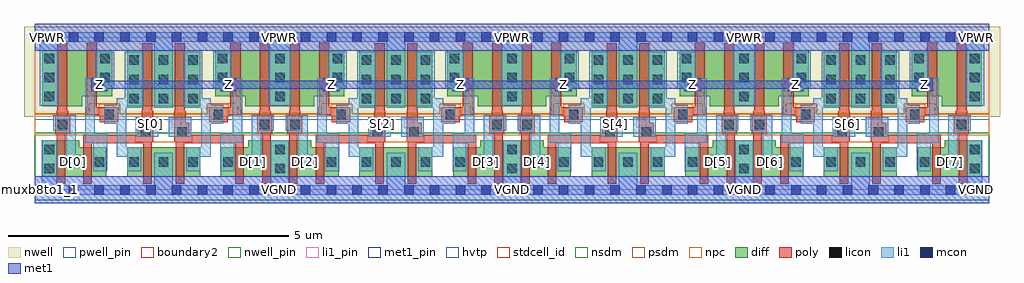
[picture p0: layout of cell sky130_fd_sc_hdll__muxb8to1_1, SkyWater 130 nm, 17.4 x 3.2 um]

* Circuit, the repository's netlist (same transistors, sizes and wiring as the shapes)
* Copyright 2020 The SkyWater PDK Authors
*
* Licensed under the Apache License, Version 2.0 (the "License");
* you may not use this file except in compliance with the License.
* You may obtain a copy of the License at
*
*     https://www.apache.org/licenses/LICENSE-2.0
*
* Unless required by applicable law or agreed to in writing, software
* distributed under the License is distributed on an "AS IS" BASIS,
* WITHOUT WARRANTIES OR CONDITIONS OF ANY KIND, either express or implied.
* See the License for the specific language governing permissions and
* limitations under the License.
*
* SPDX-License-Identifier: Apache-2.0

.SUBCKT sky130_fd_sc_hdll__muxb8to1_1 D[7] D[6] D[5] D[4] D[3] D[2] D[1] D[0] S[7] S[6] S[5] S[4] S[3] S[2] S[1] S[0] VGND VNB VPB VPWR Z
*.PININFO D[7]:I D[6]:I D[5]:I D[4]:I D[3]:I D[2]:I D[1]:I D[0]:I
*.PININFO S[7]:I S[6]:I S[5]:I S[4]:I S[3]:I S[2]:I S[1]:I S[0]:I
*.PININFO VGND:I VNB:I VPB:I VPWR:I Z:O
MMNA00 Z S[0] net87 VNB sky130_fd_pr__nfet_01v8 m=1 w=0.52U l=0.15U mult=1 sa=0.265
+ sb=0.265 sd=0.28 area=0.063 perim=1.14
MMNA01 net87 D[0] VGND VNB sky130_fd_pr__nfet_01v8 m=1 w=0.65U l=0.15U mult=1 sa=0.265
+ sb=0.265 sd=0.28 area=0.063 perim=1.14
MMIN1 SB0 S[0] VGND VNB sky130_fd_pr__nfet_01v8 m=1 w=0.52U l=0.15U mult=1 sa=0.265
+ sb=0.265 sd=0.28 area=0.063 perim=1.14
MI30 Z S[2] net51 VNB sky130_fd_pr__nfet_01v8 m=1 w=0.52U l=0.15U mult=1 sa=0.265
+ sb=0.265 sd=0.28 area=0.063 perim=1.14
MI29 net51 D[2] VGND VNB sky130_fd_pr__nfet_01v8 m=1 w=0.65U l=0.15U mult=1 sa=0.265
+ sb=0.265 sd=0.28 area=0.063 perim=1.14
MI28 SB2 S[2] VGND VNB sky130_fd_pr__nfet_01v8 m=1 w=0.52U l=0.15U mult=1 sa=0.265
+ sb=0.265 sd=0.28 area=0.063 perim=1.14
MI27 SB3 S[3] VGND VNB sky130_fd_pr__nfet_01v8 m=1 w=0.52U l=0.15U mult=1 sa=0.265
+ sb=0.265 sd=0.28 area=0.063 perim=1.14
MI26 net63 D[3] VGND VNB sky130_fd_pr__nfet_01v8 m=1 w=0.65U l=0.15U mult=1 sa=0.265
+ sb=0.265 sd=0.28 area=0.063 perim=1.14
MI25 Z S[3] net63 VNB sky130_fd_pr__nfet_01v8 m=1 w=0.52U l=0.15U mult=1 sa=0.265
+ sb=0.265 sd=0.28 area=0.063 perim=1.14
MI13 Z S[1] net75 VNB sky130_fd_pr__nfet_01v8 m=1 w=0.52U l=0.15U mult=1 sa=0.265
+ sb=0.265 sd=0.28 area=0.063 perim=1.14
MI12 net75 D[1] VGND VNB sky130_fd_pr__nfet_01v8 m=1 w=0.65U l=0.15U mult=1 sa=0.265
+ sb=0.265 sd=0.28 area=0.063 perim=1.14
MI11 SB1 S[1] VGND VNB sky130_fd_pr__nfet_01v8 m=1 w=0.52U l=0.15U mult=1 sa=0.265
+ sb=0.265 sd=0.28 area=0.063 perim=1.14
MI67 Z S[4] net073 VNB sky130_fd_pr__nfet_01v8 m=1 w=0.52U l=0.15U mult=1 sa=0.265
+ sb=0.265 sd=0.28 area=0.063 perim=1.14
MI66 net073 D[4] VGND VNB sky130_fd_pr__nfet_01v8 m=1 w=0.65U l=0.15U mult=1 sa=0.265
+ sb=0.265 sd=0.28 area=0.063 perim=1.14
MI65 SB4 S[4] VGND VNB sky130_fd_pr__nfet_01v8 m=1 w=0.52U l=0.15U mult=1 sa=0.265
+ sb=0.265 sd=0.28 area=0.063 perim=1.14
MI64 Z S[6] net085 VNB sky130_fd_pr__nfet_01v8 m=1 w=0.52U l=0.15U mult=1 sa=0.265
+ sb=0.265 sd=0.28 area=0.063 perim=1.14
MI63 net085 D[6] VGND VNB sky130_fd_pr__nfet_01v8 m=1 w=0.65U l=0.15U mult=1 sa=0.265
+ sb=0.265 sd=0.28 area=0.063 perim=1.14
MI62 SB6 S[6] VGND VNB sky130_fd_pr__nfet_01v8 m=1 w=0.52U l=0.15U mult=1 sa=0.265
+ sb=0.265 sd=0.28 area=0.063 perim=1.14
MI61 SB7 S[7] VGND VNB sky130_fd_pr__nfet_01v8 m=1 w=0.52U l=0.15U mult=1 sa=0.265
+ sb=0.265 sd=0.28 area=0.063 perim=1.14
MI60 net097 D[7] VGND VNB sky130_fd_pr__nfet_01v8 m=1 w=0.65U l=0.15U mult=1 sa=0.265
+ sb=0.265 sd=0.28 area=0.063 perim=1.14
MI59 Z S[7] net097 VNB sky130_fd_pr__nfet_01v8 m=1 w=0.52U l=0.15U mult=1 sa=0.265
+ sb=0.265 sd=0.28 area=0.063 perim=1.14
MI58 Z S[5] net0109 VNB sky130_fd_pr__nfet_01v8 m=1 w=0.52U l=0.15U mult=1 sa=0.265
+ sb=0.265 sd=0.28 area=0.063 perim=1.14
MI57 net0109 D[5] VGND VNB sky130_fd_pr__nfet_01v8 m=1 w=0.65U l=0.15U mult=1 sa=0.265
+ sb=0.265 sd=0.28 area=0.063 perim=1.14
MI56 SB5 S[5] VGND VNB sky130_fd_pr__nfet_01v8 m=1 w=0.52U l=0.15U mult=1 sa=0.265
+ sb=0.265 sd=0.28 area=0.063 perim=1.14
MI35 net99 SB2 Z VPB sky130_fd_pr__pfet_01v8_hvt m=1 w=0.82U l=0.18U mult=1 sa=0.265
+ sb=0.265 sd=0.28 area=0.063 perim=1.14
MI34 SB2 S[2] VPWR VPB sky130_fd_pr__pfet_01v8_hvt m=1 w=1.0U l=0.18U mult=1 sa=0.265
+ sb=0.265 sd=0.28 area=0.063 perim=1.14
MMPA00 VPWR D[0] net135 VPB sky130_fd_pr__pfet_01v8_hvt m=1 w=1.0U l=0.18U mult=1
+ sa=0.265 sb=0.265 sd=0.28 area=0.063 perim=1.14
MMPA01 net135 SB0 Z VPB sky130_fd_pr__pfet_01v8_hvt m=1 w=0.82U l=0.18U mult=1
+ sa=0.265 sb=0.265 sd=0.28 area=0.063 perim=1.14
MI33 SB3 S[3] VPWR VPB sky130_fd_pr__pfet_01v8_hvt m=1 w=1.0U l=0.18U mult=1 sa=0.265
+ sb=0.265 sd=0.28 area=0.063 perim=1.14
MI32 net111 SB3 Z VPB sky130_fd_pr__pfet_01v8_hvt m=1 w=0.82U l=0.18U mult=1 sa=0.265
+ sb=0.265 sd=0.28 area=0.063 perim=1.14
MI31 VPWR D[3] net111 VPB sky130_fd_pr__pfet_01v8_hvt m=1 w=1.0U l=0.18U mult=1
+ sa=0.265 sb=0.265 sd=0.28 area=0.063 perim=1.14
MMIP1 SB0 S[0] VPWR VPB sky130_fd_pr__pfet_01v8_hvt m=1 w=1.0U l=0.18U mult=1 sa=0.265
+ sb=0.265 sd=0.28 area=0.063 perim=1.14
MI15 net123 SB1 Z VPB sky130_fd_pr__pfet_01v8_hvt m=1 w=0.82U l=0.18U mult=1 sa=0.265
+ sb=0.265 sd=0.28 area=0.063 perim=1.14
MI16 VPWR D[1] net123 VPB sky130_fd_pr__pfet_01v8_hvt m=1 w=1.0U l=0.18U mult=1
+ sa=0.265 sb=0.265 sd=0.28 area=0.063 perim=1.14
MI14 SB1 S[1] VPWR VPB sky130_fd_pr__pfet_01v8_hvt m=1 w=1.0U l=0.18U mult=1 sa=0.265
+ sb=0.265 sd=0.28 area=0.063 perim=1.14
MI36 VPWR D[2] net99 VPB sky130_fd_pr__pfet_01v8_hvt m=1 w=1.0U l=0.18U mult=1
+ sa=0.265 sb=0.265 sd=0.28 area=0.063 perim=1.14
MI79 net0165 SB6 Z VPB sky130_fd_pr__pfet_01v8_hvt m=1 w=0.82U l=0.18U mult=1 sa=0.265
+ sb=0.265 sd=0.28 area=0.063 perim=1.14
MI78 SB6 S[6] VPWR VPB sky130_fd_pr__pfet_01v8_hvt m=1 w=1.0U l=0.18U mult=1 sa=0.265
+ sb=0.265 sd=0.28 area=0.063 perim=1.14
MI77 VPWR D[4] net0177 VPB sky130_fd_pr__pfet_01v8_hvt m=1 w=1.0U l=0.18U mult=1
+ sa=0.265 sb=0.265 sd=0.28 area=0.063 perim=1.14
MI76 net0177 SB4 Z VPB sky130_fd_pr__pfet_01v8_hvt m=1 w=0.82U l=0.18U mult=1 sa=0.265
+ sb=0.265 sd=0.28 area=0.063 perim=1.14
MI75 SB7 S[7] VPWR VPB sky130_fd_pr__pfet_01v8_hvt m=1 w=1.0U l=0.18U mult=1 sa=0.265
+ sb=0.265 sd=0.28 area=0.063 perim=1.14
MI74 net0185 SB7 Z VPB sky130_fd_pr__pfet_01v8_hvt m=1 w=0.82U l=0.18U mult=1 sa=0.265
+ sb=0.265 sd=0.28 area=0.063 perim=1.14
MI73 VPWR D[7] net0185 VPB sky130_fd_pr__pfet_01v8_hvt m=1 w=1.0U l=0.18U mult=1
+ sa=0.265 sb=0.265 sd=0.28 area=0.063 perim=1.14
MI72 SB4 S[4] VPWR VPB sky130_fd_pr__pfet_01v8_hvt m=1 w=1.0U l=0.18U mult=1 sa=0.265
+ sb=0.265 sd=0.28 area=0.063 perim=1.14
MI71 net0197 SB5 Z VPB sky130_fd_pr__pfet_01v8_hvt m=1 w=0.82U l=0.18U mult=1 sa=0.265
+ sb=0.265 sd=0.28 area=0.063 perim=1.14
MI70 VPWR D[5] net0197 VPB sky130_fd_pr__pfet_01v8_hvt m=1 w=1.0U l=0.18U mult=1
+ sa=0.265 sb=0.265 sd=0.28 area=0.063 perim=1.14
MI69 SB5 S[5] VPWR VPB sky130_fd_pr__pfet_01v8_hvt m=1 w=1.0U l=0.18U mult=1 sa=0.265
+ sb=0.265 sd=0.28 area=0.063 perim=1.14
MI68 VPWR D[6] net0165 VPB sky130_fd_pr__pfet_01v8_hvt m=1 w=1.0U l=0.18U mult=1
+ sa=0.265 sb=0.265 sd=0.28 area=0.063 perim=1.14
.ENDS sky130_fd_sc_hdll__muxb8to1_1

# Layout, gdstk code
import gdstk
lib = gdstk.Library(unit=1e-6, precision=1e-09)
def R(c, l, rs):  # rectangles x0, y0, x1, y1
    for r in rs: c.add(gdstk.rectangle(r[:2], r[2:], *l))
def A(c, l, x, y, w, h, nx, ny, dx, dy):  # array of equal rectangles
    R(c, l, [(x+i*dx, y+j*dy, x+i*dx+w, y+j*dy+h) for i in range(nx) for j in range(ny)])
def P(c, l, *ps):  # polygons
    for p in ps: c.add(gdstk.Polygon(p, *l))
nwell_pin = (64, 16)
nwell = (64, 20)
diff = (65, 20)
poly = (66, 20)
licon = (66, 44)
li1_pin = (67, 16)
li1 = (67, 20)
mcon = (67, 44)
met1_pin = (68, 16)
met1 = (68, 20)
hvtp = (78, 44)
stdcell_id = (81, 4)
nsdm = (93, 44)
psdm = (94, 20)
npc = (95, 20)
pwell_pin = (122, 16)
boundary2 = (236, 0)

sky130_fd_sc_hdll__muxb8 = lib.new_cell('sky130_fd_sc_hdll__muxb8to1_1')
R(sky130_fd_sc_hdll__muxb8, nwell_pin, [(0.145,2.635,0.315,2.805), (0.145,2.635,0.315,2.805), (4.285,2.635,4.455,2.805), (4.285,2.635,4.455,2.805), (8.425,2.635,8.595,2.805), (8.425,2.635,8.595,2.805), (12.565,2.635,12.735,2.805), (12.565,2.635,12.735,2.805), (16.705,2.635,16.875,2.805)])
R(sky130_fd_sc_hdll__muxb8, nwell, [(-0.19,1.305,2.95,2.91), (1.65,1.305,4.79,2.91), (3.95,1.305,7.09,2.91), (5.79,1.305,8.93,2.91), (8.09,1.305,11.23,2.91), (9.93,1.305,13.07,2.91), (12.23,1.305,15.37,2.91), (14.07,1.305,17.21,2.91)])
R(sky130_fd_sc_hdll__muxb8, diff, [(1.65,0.235,2.425,0.755), (2.175,0.235,2.95,0.755), (5.79,0.235,6.565,0.755), (6.315,0.235,7.09,0.755), (9.93,0.235,10.705,0.755), (10.455,0.235,11.23,0.755), (14.07,0.235,14.845,0.755), (14.595,0.235,15.37,0.755), (1.65,1.485,2.425,2.485), (2.175,1.485,2.95,2.485), (5.79,1.485,6.565,2.485), (6.315,1.485,7.09,2.485), (9.93,1.485,10.705,2.485), (10.455,1.485,11.23,2.485), (14.07,1.485,14.845,2.485), (14.595,1.485,15.37,2.485)])
P(sky130_fd_sc_hdll__muxb8, diff, [(15.64,2.485),(16.885,2.485),(16.885,1.485),(16.175,1.485),(16.175,1.665),(15.64,1.665)],
  [(15.74,0.755),(16.225,0.755),(16.225,0.885),(16.885,0.885),(16.885,0.235),(15.74,0.235)],
  [(13.8,2.485),(12.555,2.485),(12.555,1.485),(13.265,1.485),(13.265,1.665),(13.8,1.665)],
  [(13.7,0.755),(13.215,0.755),(13.215,0.885),(12.555,0.885),(12.555,0.235),(13.7,0.235)],
  [(11.5,2.485),(12.745,2.485),(12.745,1.485),(12.035,1.485),(12.035,1.665),(11.5,1.665)],
  [(11.6,0.755),(12.085,0.755),(12.085,0.885),(12.745,0.885),(12.745,0.235),(11.6,0.235)],
  [(7.36,2.485),(8.605,2.485),(8.605,1.485),(7.895,1.485),(7.895,1.665),(7.36,1.665)],
  [(7.46,0.755),(7.945,0.755),(7.945,0.885),(8.605,0.885),(8.605,0.235),(7.46,0.235)],
  [(9.66,2.485),(8.415,2.485),(8.415,1.485),(9.125,1.485),(9.125,1.665),(9.66,1.665)],
  [(9.56,0.755),(9.075,0.755),(9.075,0.885),(8.415,0.885),(8.415,0.235),(9.56,0.235)],
  [(1.38,2.485),(0.135,2.485),(0.135,1.485),(0.845,1.485),(0.845,1.665),(1.38,1.665)],
  [(1.28,0.755),(0.795,0.755),(0.795,0.885),(0.135,0.885),(0.135,0.235),(1.28,0.235)],
  [(3.22,2.485),(4.465,2.485),(4.465,1.485),(3.755,1.485),(3.755,1.665),(3.22,1.665)],
  [(3.32,0.755),(3.805,0.755),(3.805,0.885),(4.465,0.885),(4.465,0.235),(3.32,0.235)],
  [(5.52,2.485),(4.275,2.485),(4.275,1.485),(4.985,1.485),(4.985,1.665),(5.52,1.665)],
  [(5.42,0.755),(4.935,0.755),(4.935,0.885),(4.275,0.885),(4.275,0.235),(5.42,0.235)])
R(sky130_fd_sc_hdll__muxb8, poly, [(0.395,0.105,0.545,0.995), (0.87,0.105,1.02,0.98), (1.935,0.105,2.085,0.995), (2.515,0.105,2.665,0.995), (3.58,0.105,3.73,0.98), (4.055,0.105,4.205,0.995), (4.535,0.105,4.685,0.995), (5.01,0.105,5.16,0.98), (6.075,0.105,6.225,0.995), (6.655,0.105,6.805,0.995), (7.72,0.105,7.87,0.98), (8.195,0.105,8.345,0.995), (8.675,0.105,8.825,0.995), (9.15,0.105,9.3,0.98), (10.215,0.105,10.365,0.995), (10.795,0.105,10.945,0.995), (11.86,0.105,12.01,0.98), (12.335,0.105,12.485,0.995), (12.815,0.105,12.965,0.995), (13.29,0.105,13.44,0.98), (14.355,0.105,14.505,0.995), (14.935,0.105,15.085,0.995), (16,0.105,16.15,0.98), (16.475,0.105,16.625,0.995), (0.87,0.83,2.085,0.98), (2.515,0.83,3.73,0.98), (5.01,0.83,6.225,0.98), (6.655,0.83,7.87,0.98), (9.15,0.83,10.365,0.98), (10.795,0.83,12.01,0.98), (13.29,0.83,14.505,0.98), (14.935,0.83,16.15,0.98), (1.84,0.865,2.11,1.195), (2.49,0.865,2.76,1.195), (5.98,0.865,6.25,1.195), (6.63,0.865,6.9,1.195), (10.12,0.865,10.39,1.195), (10.77,0.865,11.04,1.195), (14.26,0.865,14.53,1.195), (14.91,0.865,15.18,1.195), (0.365,0.995,0.635,1.325), (3.965,0.995,4.235,1.325), (4.505,0.995,4.775,1.325), (8.105,0.995,8.375,1.325), (8.645,0.995,8.915,1.325), (12.245,0.995,12.515,1.325), (12.785,0.995,13.055,1.325), (16.385,0.995,16.655,1.325), (1.16,1.205,1.49,1.475), (3.11,1.205,3.44,1.475), (5.3,1.205,5.63,1.475), (7.25,1.205,7.58,1.475), (9.44,1.205,9.77,1.475), (11.39,1.205,11.72,1.475), (13.58,1.205,13.91,1.475), (15.53,1.205,15.86,1.475), (0.92,1.325,1.305,1.475), (3.295,1.325,3.68,1.475), (5.06,1.325,5.445,1.475), (7.435,1.325,7.82,1.475), (9.2,1.325,9.585,1.475), (11.575,1.325,11.96,1.475), (13.34,1.325,13.725,1.475), (15.715,1.325,16.1,1.475)])
P(sky130_fd_sc_hdll__muxb8, poly, [(14.91,1.41),(14.92,1.41),(14.92,2.615),(15.1,2.615),(15.1,1.41),(15.11,1.41),(15.11,1.195),(14.91,1.195)],
  [(16.425,1.41),(16.435,1.41),(16.435,2.615),(16.615,2.615),(16.615,1.41),(16.625,1.41),(16.625,1.325),(16.425,1.325)],
  [(15.9,1.475),(15.91,1.475),(15.91,2.62),(16.09,2.62),(16.09,1.475),(16.1,1.475),(16.1,1.39),(15.9,1.39)],
  [(13.015,1.41),(13.005,1.41),(13.005,2.615),(12.825,2.615),(12.825,1.41),(12.815,1.41),(12.815,1.325),(13.015,1.325)],
  [(13.54,1.475),(13.53,1.475),(13.53,2.62),(13.35,2.62),(13.35,1.475),(13.34,1.475),(13.34,1.39),(13.54,1.39)],
  [(14.53,1.41),(14.52,1.41),(14.52,2.615),(14.34,2.615),(14.34,1.41),(14.33,1.41),(14.33,1.195),(14.53,1.195)],
  [(2.11,1.41),(2.1,1.41),(2.1,2.615),(1.92,2.615),(1.92,1.41),(1.91,1.41),(1.91,1.195),(2.11,1.195)],
  [(1.12,1.475),(1.11,1.475),(1.11,2.62),(0.93,2.62),(0.93,1.475),(0.92,1.475),(0.92,1.39),(1.12,1.39)],
  [(0.595,1.41),(0.585,1.41),(0.585,2.615),(0.405,2.615),(0.405,1.41),(0.395,1.41),(0.395,1.325),(0.595,1.325)],
  [(8.875,1.41),(8.865,1.41),(8.865,2.615),(8.685,2.615),(8.685,1.41),(8.675,1.41),(8.675,1.325),(8.875,1.325)],
  [(9.4,1.475),(9.39,1.475),(9.39,2.62),(9.21,2.62),(9.21,1.475),(9.2,1.475),(9.2,1.39),(9.4,1.39)],
  [(10.39,1.41),(10.38,1.41),(10.38,2.615),(10.2,2.615),(10.2,1.41),(10.19,1.41),(10.19,1.195),(10.39,1.195)],
  [(12.285,1.41),(12.295,1.41),(12.295,2.615),(12.475,2.615),(12.475,1.41),(12.485,1.41),(12.485,1.325),(12.285,1.325)],
  [(11.76,1.475),(11.77,1.475),(11.77,2.62),(11.95,2.62),(11.95,1.475),(11.96,1.475),(11.96,1.39),(11.76,1.39)],
  [(10.77,1.41),(10.78,1.41),(10.78,2.615),(10.96,2.615),(10.96,1.41),(10.97,1.41),(10.97,1.195),(10.77,1.195)],
  [(4.005,1.41),(4.015,1.41),(4.015,2.615),(4.195,2.615),(4.195,1.41),(4.205,1.41),(4.205,1.325),(4.005,1.325)],
  [(3.48,1.475),(3.49,1.475),(3.49,2.62),(3.67,2.62),(3.67,1.475),(3.68,1.475),(3.68,1.39),(3.48,1.39)],
  [(2.49,1.41),(2.5,1.41),(2.5,2.615),(2.68,2.615),(2.68,1.41),(2.69,1.41),(2.69,1.195),(2.49,1.195)],
  [(4.735,1.41),(4.725,1.41),(4.725,2.615),(4.545,2.615),(4.545,1.41),(4.535,1.41),(4.535,1.325),(4.735,1.325)],
  [(5.26,1.475),(5.25,1.475),(5.25,2.62),(5.07,2.62),(5.07,1.475),(5.06,1.475),(5.06,1.39),(5.26,1.39)],
  [(6.25,1.41),(6.24,1.41),(6.24,2.615),(6.06,2.615),(6.06,1.41),(6.05,1.41),(6.05,1.195),(6.25,1.195)],
  [(8.145,1.41),(8.155,1.41),(8.155,2.615),(8.335,2.615),(8.335,1.41),(8.345,1.41),(8.345,1.325),(8.145,1.325)],
  [(7.62,1.475),(7.63,1.475),(7.63,2.62),(7.81,2.62),(7.81,1.475),(7.82,1.475),(7.82,1.39),(7.62,1.39)],
  [(6.63,1.41),(6.64,1.41),(6.64,2.615),(6.82,2.615),(6.82,1.41),(6.83,1.41),(6.83,1.195),(6.63,1.195)])
A(sky130_fd_sc_hdll__muxb8, licon, 4.285, 0.295, 0.17, 0.17, 3, 2, 4.14, 0.34)
A(sky130_fd_sc_hdll__muxb8, licon, 1.69, 1.545, 0.17, 0.17, 1, 3, 0, 0.34)
A(sky130_fd_sc_hdll__muxb8, licon, 2.74, 1.545, 0.17, 0.17, 1, 3, 0, 0.34)
A(sky130_fd_sc_hdll__muxb8, licon, 5.83, 1.545, 0.17, 0.17, 1, 3, 0, 0.34)
A(sky130_fd_sc_hdll__muxb8, licon, 6.88, 1.545, 0.17, 0.17, 1, 3, 0, 0.34)
A(sky130_fd_sc_hdll__muxb8, licon, 9.97, 1.545, 0.17, 0.17, 1, 3, 0, 0.34)
A(sky130_fd_sc_hdll__muxb8, licon, 11.02, 1.545, 0.17, 0.17, 1, 3, 0, 0.34)
A(sky130_fd_sc_hdll__muxb8, licon, 14.11, 1.545, 0.17, 0.17, 1, 3, 0, 0.34)
A(sky130_fd_sc_hdll__muxb8, licon, 15.16, 1.545, 0.17, 0.17, 1, 3, 0, 0.34)
A(sky130_fd_sc_hdll__muxb8, licon, 0.175, 1.575, 0.17, 0.17, 1, 3, 0, 0.34)
A(sky130_fd_sc_hdll__muxb8, licon, 4.285, 1.575, 0.17, 0.17, 3, 1, 4.14, 0)
A(sky130_fd_sc_hdll__muxb8, licon, 16.675, 1.575, 0.17, 0.17, 1, 3, 0, 0.34)
A(sky130_fd_sc_hdll__muxb8, licon, 3.26, 1.915, 0.17, 0.17, 3, 2, 1.025, 0.34)
A(sky130_fd_sc_hdll__muxb8, licon, 7.4, 1.915, 0.17, 0.17, 3, 2, 1.025, 0.34)
A(sky130_fd_sc_hdll__muxb8, licon, 11.54, 1.915, 0.17, 0.17, 3, 2, 1.025, 0.34)
R(sky130_fd_sc_hdll__muxb8, licon, [(0.175,0.295,0.345,0.465), (16.675,0.295,16.845,0.465), (1.07,0.41,1.24,0.58), (1.69,0.41,1.86,0.58), (2.215,0.41,2.385,0.58), (2.215,0.41,2.385,0.58), (2.74,0.41,2.91,0.58), (3.36,0.41,3.53,0.58), (5.21,0.41,5.38,0.58), (5.83,0.41,6,0.58), (6.355,0.41,6.525,0.58), (6.355,0.41,6.525,0.58), (6.88,0.41,7.05,0.58), (7.5,0.41,7.67,0.58), (9.35,0.41,9.52,0.58), (9.97,0.41,10.14,0.58), (10.495,0.41,10.665,0.58), (10.495,0.41,10.665,0.58), (11.02,0.41,11.19,0.58), (11.64,0.41,11.81,0.58), (13.49,0.41,13.66,0.58), (14.11,0.41,14.28,0.58), (14.635,0.41,14.805,0.58), (14.635,0.41,14.805,0.58), (15.16,0.41,15.33,0.58), (15.78,0.41,15.95,0.58), (0.175,0.635,0.345,0.805), (16.675,0.635,16.845,0.805), (1.89,0.945,2.06,1.115), (2.54,0.945,2.71,1.115), (6.03,0.945,6.2,1.115), (6.68,0.945,6.85,1.115), (10.17,0.945,10.34,1.115), (10.82,0.945,10.99,1.115), (14.31,0.945,14.48,1.115), (14.96,0.945,15.13,1.115), (0.415,1.075,0.585,1.245), (4.015,1.075,4.185,1.245), (4.555,1.075,4.725,1.245), (8.155,1.075,8.325,1.245), (8.695,1.075,8.865,1.245), (12.295,1.075,12.465,1.245), (12.835,1.075,13.005,1.245), (16.435,1.075,16.605,1.245), (1.24,1.255,1.41,1.425), (3.19,1.255,3.36,1.425), (5.38,1.255,5.55,1.425), (7.33,1.255,7.5,1.425), (9.52,1.255,9.69,1.425), (11.47,1.255,11.64,1.425), (13.66,1.255,13.83,1.425), (15.61,1.255,15.78,1.425), (2.215,1.545,2.385,1.715), (2.215,1.545,2.385,1.715), (6.355,1.545,6.525,1.715), (6.355,1.545,6.525,1.715), (10.495,1.545,10.665,1.715), (10.495,1.545,10.665,1.715), (14.635,1.545,14.805,1.715), (14.635,1.545,14.805,1.715), (2.215,1.885,2.385,2.055), (2.215,1.885,2.385,2.055), (6.355,1.885,6.525,2.055), (6.355,1.885,6.525,2.055), (10.495,1.885,10.665,2.055), (10.495,1.885,10.665,2.055), (14.635,1.885,14.805,2.055), (14.635,1.885,14.805,2.055), (1.17,1.915,1.34,2.085), (15.68,1.915,15.85,2.085), (2.215,2.225,2.385,2.395), (2.215,2.225,2.385,2.395), (6.355,2.225,6.525,2.395), (6.355,2.225,6.525,2.395), (10.495,2.225,10.665,2.395), (10.495,2.225,10.665,2.395), (14.635,2.225,14.805,2.395), (14.635,2.225,14.805,2.395), (1.17,2.255,1.34,2.425), (15.68,2.255,15.85,2.425)])
R(sky130_fd_sc_hdll__muxb8, li1_pin, [(0.605,0.425,0.775,0.595), (0.605,0.425,0.775,0.595), (3.825,0.425,3.995,0.595), (3.825,0.425,3.995,0.595), (4.745,0.425,4.915,0.595), (4.745,0.425,4.915,0.595), (7.965,0.425,8.135,0.595), (7.965,0.425,8.135,0.595), (8.885,0.425,9.055,0.595), (8.885,0.425,9.055,0.595), (12.105,0.425,12.275,0.595), (12.105,0.425,12.275,0.595), (13.025,0.425,13.195,0.595), (13.025,0.425,13.195,0.595), (16.245,0.425,16.415,0.595), (16.245,0.425,16.415,0.595), (1.985,1.105,2.155,1.275), (1.985,1.105,2.155,1.275), (2.445,1.105,2.615,1.275), (2.445,1.105,2.615,1.275), (6.125,1.105,6.295,1.275), (6.125,1.105,6.295,1.275), (6.585,1.105,6.755,1.275), (6.585,1.105,6.755,1.275), (10.265,1.105,10.435,1.275), (10.265,1.105,10.435,1.275), (10.725,1.105,10.895,1.275), (10.725,1.105,10.895,1.275), (14.405,1.105,14.575,1.275), (14.405,1.105,14.575,1.275), (14.865,1.105,15.035,1.275), (14.865,1.105,15.035,1.275)])
R(sky130_fd_sc_hdll__muxb8, li1, [(0,-0.085,2.76,0.085), (1.84,-0.085,4.6,0.085), (4.14,-0.085,6.9,0.085), (5.98,-0.085,8.74,0.085), (8.28,-0.085,11.04,0.085), (10.12,-0.085,12.88,0.085), (12.42,-0.085,15.18,0.085), (14.26,-0.085,17.02,0.085), (0.13,0.085,0.39,0.885), (2.135,0.085,2.465,0.66), (2.135,0.085,2.465,0.66), (4.21,0.085,4.47,0.885), (4.27,0.085,4.53,0.885), (6.275,0.085,6.605,0.66), (6.275,0.085,6.605,0.66), (8.35,0.085,8.61,0.885), (8.41,0.085,8.67,0.885), (10.415,0.085,10.745,0.66), (10.415,0.085,10.745,0.66), (12.49,0.085,12.75,0.885), (12.55,0.085,12.81,0.885), (14.555,0.085,14.885,0.66), (14.555,0.085,14.885,0.66), (16.63,0.085,16.89,0.885), (1.045,0.33,1.29,0.865), (1.65,0.33,1.9,0.755), (2.7,0.33,2.95,0.755), (3.31,0.33,3.555,0.865), (5.185,0.33,5.43,0.865), (5.79,0.33,6.04,0.755), (6.84,0.33,7.09,0.755), (7.45,0.33,7.695,0.865), (9.325,0.33,9.57,0.865), (9.93,0.33,10.18,0.755), (10.98,0.33,11.23,0.755), (11.59,0.33,11.835,0.865), (13.465,0.33,13.71,0.865), (14.07,0.33,14.32,0.755), (15.12,0.33,15.37,0.755), (15.73,0.33,15.975,0.865), (0.9,0.835,1.29,1.005), (0.9,0.835,1.07,1.805), (3.31,0.835,3.7,1.005), (3.53,0.835,3.7,1.805), (5.04,0.835,5.43,1.005), (5.04,0.835,5.21,1.805), (7.45,0.835,7.84,1.005), (7.67,0.835,7.84,1.805), (9.18,0.835,9.57,1.005), (9.18,0.835,9.35,1.805), (11.59,0.835,11.98,1.005), (11.81,0.835,11.98,1.805), (13.32,0.835,13.71,1.005), (13.32,0.835,13.49,1.805), (15.73,0.835,16.12,1.005), (15.95,0.835,16.12,1.805), (1.805,0.945,2.205,1.295), (2.395,0.945,2.795,1.295), (5.945,0.945,6.345,1.295), (6.535,0.945,6.935,1.295), (10.085,0.945,10.485,1.295), (10.675,0.945,11.075,1.295), (14.225,0.945,14.625,1.295), (14.815,0.945,15.215,1.295), (0.335,1.055,0.73,1.325), (3.87,1.055,4.265,1.325), (4.475,1.055,4.87,1.325), (8.01,1.055,8.405,1.325), (8.615,1.055,9.01,1.325), (12.15,1.055,12.545,1.325), (12.755,1.055,13.15,1.325), (16.29,1.055,16.685,1.325), (1.24,1.175,1.46,1.505), (3.14,1.175,3.36,1.505), (5.38,1.175,5.6,1.505), (7.28,1.175,7.5,1.505), (9.52,1.175,9.74,1.505), (11.42,1.175,11.64,1.505), (13.66,1.175,13.88,1.505), (15.56,1.175,15.78,1.505), (1.61,1.465,1.94,2.465), (2.135,1.465,2.465,2.635), (2.135,1.465,2.465,2.635), (2.66,1.465,2.99,2.465), (5.75,1.465,6.08,2.465), (6.275,1.465,6.605,2.635), (6.275,1.465,6.605,2.635), (6.8,1.465,7.13,2.465), (9.89,1.465,10.22,2.465), (10.415,1.465,10.745,2.635), (10.415,1.465,10.745,2.635), (10.94,1.465,11.27,2.465), (14.03,1.465,14.36,2.465), (14.555,1.465,14.885,2.635), (14.555,1.465,14.885,2.635), (15.08,1.465,15.41,2.465), (0.095,1.495,0.425,2.635), (4.175,1.495,4.505,2.635), (4.235,1.495,4.565,2.635), (8.315,1.495,8.645,2.635), (8.375,1.495,8.705,2.635), (12.455,1.495,12.785,2.635), (12.515,1.495,12.845,2.635), (16.595,1.495,16.925,2.635), (1.09,1.805,1.42,2.465), (3.18,1.805,3.51,2.465), (5.23,1.805,5.56,2.465), (7.32,1.805,7.65,2.465), (9.37,1.805,9.7,2.465), (11.46,1.805,11.79,2.465), (13.51,1.805,13.84,2.465), (15.6,1.805,15.93,2.465), (0,2.635,2.76,2.805), (1.84,2.635,4.6,2.805), (4.14,2.635,6.9,2.805), (5.98,2.635,8.74,2.805), (8.28,2.635,11.04,2.805), (10.12,2.635,12.88,2.805), (12.42,2.635,15.18,2.805), (14.26,2.635,17.02,2.805)])
P(sky130_fd_sc_hdll__muxb8, li1, [(16.185,0.625),(16.29,0.625),(16.29,1.325),(16.46,1.325),(16.46,0.395),(16.185,0.395)],
  [(15.6,1.985),(16.12,1.985),(16.12,1.755),(15.725,1.755),(15.725,1.805),(15.6,1.805)],
  [(15.12,0.755),(15.39,0.755),(15.39,1.465),(15.08,1.465),(15.08,1.635),(15.56,1.635),(15.56,0.585),(15.12,0.585)],
  [(13.255,0.625),(13.15,0.625),(13.15,1.325),(12.98,1.325),(12.98,0.395),(13.255,0.395)],
  [(13.84,1.985),(13.32,1.985),(13.32,1.755),(13.715,1.755),(13.715,1.805),(13.84,1.805)],
  [(14.32,0.755),(14.05,0.755),(14.05,1.465),(14.36,1.465),(14.36,1.635),(13.88,1.635),(13.88,0.585),(14.32,0.585)],
  [(1.9,0.755),(1.63,0.755),(1.63,1.465),(1.94,1.465),(1.94,1.635),(1.46,1.635),(1.46,0.585),(1.9,0.585)],
  [(1.42,1.985),(0.9,1.985),(0.9,1.755),(1.295,1.755),(1.295,1.805),(1.42,1.805)],
  [(0.835,0.625),(0.73,0.625),(0.73,1.325),(0.56,1.325),(0.56,0.395),(0.835,0.395)],
  [(12.045,0.625),(12.15,0.625),(12.15,1.325),(12.32,1.325),(12.32,0.395),(12.045,0.395)],
  [(11.46,1.985),(11.98,1.985),(11.98,1.755),(11.585,1.755),(11.585,1.805),(11.46,1.805)],
  [(10.98,0.755),(11.25,0.755),(11.25,1.465),(10.94,1.465),(10.94,1.635),(11.42,1.635),(11.42,0.585),(10.98,0.585)],
  [(9.115,0.625),(9.01,0.625),(9.01,1.325),(8.84,1.325),(8.84,0.395),(9.115,0.395)],
  [(9.7,1.985),(9.18,1.985),(9.18,1.755),(9.575,1.755),(9.575,1.805),(9.7,1.805)],
  [(10.18,0.755),(9.91,0.755),(9.91,1.465),(10.22,1.465),(10.22,1.635),(9.74,1.635),(9.74,0.585),(10.18,0.585)],
  [(3.765,0.625),(3.87,0.625),(3.87,1.325),(4.04,1.325),(4.04,0.395),(3.765,0.395)],
  [(3.18,1.985),(3.7,1.985),(3.7,1.755),(3.305,1.755),(3.305,1.805),(3.18,1.805)],
  [(2.7,0.755),(2.97,0.755),(2.97,1.465),(2.66,1.465),(2.66,1.635),(3.14,1.635),(3.14,0.585),(2.7,0.585)],
  [(4.975,0.625),(4.87,0.625),(4.87,1.325),(4.7,1.325),(4.7,0.395),(4.975,0.395)],
  [(5.56,1.985),(5.04,1.985),(5.04,1.755),(5.435,1.755),(5.435,1.805),(5.56,1.805)],
  [(6.04,0.755),(5.77,0.755),(5.77,1.465),(6.08,1.465),(6.08,1.635),(5.6,1.635),(5.6,0.585),(6.04,0.585)],
  [(7.905,0.625),(8.01,0.625),(8.01,1.325),(8.18,1.325),(8.18,0.395),(7.905,0.395)],
  [(7.32,1.985),(7.84,1.985),(7.84,1.755),(7.445,1.755),(7.445,1.805),(7.32,1.805)],
  [(6.84,0.755),(7.11,0.755),(7.11,1.465),(6.8,1.465),(6.8,1.635),(7.28,1.635),(7.28,0.585),(6.84,0.585)])
A(sky130_fd_sc_hdll__muxb8, mcon, 0.145, -0.085, 0.17, 0.17, 10, 1, 0.46, 0)
A(sky130_fd_sc_hdll__muxb8, mcon, 4.285, -0.085, 0.17, 0.17, 10, 1, 0.46, 0)
A(sky130_fd_sc_hdll__muxb8, mcon, 8.425, -0.085, 0.17, 0.17, 10, 1, 0.46, 0)
A(sky130_fd_sc_hdll__muxb8, mcon, 12.565, -0.085, 0.17, 0.17, 10, 1, 0.46, 0)
A(sky130_fd_sc_hdll__muxb8, mcon, 0.145, 2.635, 0.17, 0.17, 5, 1, 0.46, 0)
A(sky130_fd_sc_hdll__muxb8, mcon, 2.445, 2.635, 0.17, 0.17, 5, 1, 0.46, 0)
A(sky130_fd_sc_hdll__muxb8, mcon, 4.285, 2.635, 0.17, 0.17, 5, 1, 0.46, 0)
A(sky130_fd_sc_hdll__muxb8, mcon, 6.585, 2.635, 0.17, 0.17, 5, 1, 0.46, 0)
A(sky130_fd_sc_hdll__muxb8, mcon, 8.425, 2.635, 0.17, 0.17, 5, 1, 0.46, 0)
A(sky130_fd_sc_hdll__muxb8, mcon, 10.725, 2.635, 0.17, 0.17, 5, 1, 0.46, 0)
A(sky130_fd_sc_hdll__muxb8, mcon, 12.565, 2.635, 0.17, 0.17, 5, 1, 0.46, 0)
A(sky130_fd_sc_hdll__muxb8, mcon, 14.865, 2.635, 0.17, 0.17, 5, 1, 0.46, 0)
R(sky130_fd_sc_hdll__muxb8, mcon, [(1.065,1.785,1.235,1.955), (3.365,1.785,3.535,1.955), (5.205,1.785,5.375,1.955), (7.505,1.785,7.675,1.955), (9.345,1.785,9.515,1.955), (11.645,1.785,11.815,1.955), (13.485,1.785,13.655,1.955), (15.785,1.785,15.955,1.955), (1.985,2.635,2.155,2.805), (2.445,2.635,2.615,2.805), (6.125,2.635,6.295,2.805), (6.585,2.635,6.755,2.805), (10.265,2.635,10.435,2.805), (10.725,2.635,10.895,2.805), (14.405,2.635,14.575,2.805), (14.865,2.635,15.035,2.805)])
A(sky130_fd_sc_hdll__muxb8, met1_pin, 0.145, -0.085, 0.17, 0.17, 5, 2, 4.14, 2.72)
R(sky130_fd_sc_hdll__muxb8, met1_pin, [(0.145,-0.085,0.315,0.085), (1.065,1.785,1.235,1.955), (1.065,1.785,1.235,1.955), (3.365,1.785,3.535,1.955), (5.205,1.785,5.375,1.955), (7.505,1.785,7.675,1.955), (9.345,1.785,9.515,1.955), (11.645,1.785,11.815,1.955), (13.485,1.785,13.655,1.955), (15.785,1.785,15.955,1.955), (0.145,2.635,0.315,2.805)])
R(sky130_fd_sc_hdll__muxb8, met1, [(0,-0.24,2.76,0.24), (1.84,-0.24,4.6,0.24), (4.14,-0.24,6.9,0.24), (5.98,-0.24,8.74,0.24), (8.28,-0.24,11.04,0.24), (10.12,-0.24,12.88,0.24), (12.42,-0.24,15.18,0.24), (14.26,-0.24,17.02,0.24), (1.005,1.755,1.295,1.985), (3.305,1.755,3.595,1.985), (5.145,1.755,5.435,1.985), (7.445,1.755,7.735,1.985), (9.285,1.755,9.575,1.985), (11.585,1.755,11.875,1.985), (13.425,1.755,13.715,1.985), (15.725,1.755,16.015,1.985), (1.005,1.8,1.415,1.94), (1.005,1.8,16.015,1.94), (3.185,1.8,3.595,1.94), (5.145,1.8,5.555,1.94), (7.325,1.8,7.735,1.94), (9.285,1.8,9.695,1.94), (11.465,1.8,11.875,1.94), (13.425,1.8,13.835,1.94), (15.605,1.8,16.015,1.94), (0,2.48,2.76,2.96), (1.84,2.48,4.6,2.96), (4.14,2.48,6.9,2.96), (5.98,2.48,8.74,2.96), (8.28,2.48,11.04,2.96), (10.12,2.48,12.88,2.96), (12.42,2.48,15.18,2.96), (14.26,2.48,17.02,2.96)])
R(sky130_fd_sc_hdll__muxb8, hvtp, [(0,1.25,2.56,2.72), (2.04,1.25,4.6,2.72), (4.14,1.25,6.7,2.72), (6.18,1.25,8.74,2.72), (8.28,1.25,10.84,2.72), (10.32,1.25,12.88,2.72), (12.42,1.25,14.98,2.72), (14.46,1.25,17.02,2.72)])
R(sky130_fd_sc_hdll__muxb8, stdcell_id, [(0,0,17.02,2.72)])
R(sky130_fd_sc_hdll__muxb8, nsdm, [(0,-0.19,2.76,1.015), (1.84,-0.19,4.6,1.015), (4.14,-0.19,6.9,1.015), (5.98,-0.19,8.74,1.015), (8.28,-0.19,11.04,1.015), (10.12,-0.19,12.88,1.015), (12.42,-0.19,15.18,1.015), (14.26,-0.19,17.02,1.015)])
P(sky130_fd_sc_hdll__muxb8, psdm, [(14.26,2.91),(17.02,2.91),(17.02,1.355),(16.045,1.355),(16.045,1.535),(15.5,1.535),(15.5,1.355),(14.26,1.355)],
  [(15.18,2.91),(12.42,2.91),(12.42,1.355),(13.395,1.355),(13.395,1.535),(13.94,1.535),(13.94,1.355),(15.18,1.355)],
  [(2.76,2.91),(0,2.91),(0,1.355),(0.975,1.355),(0.975,1.535),(1.52,1.535),(1.52,1.355),(2.76,1.355)],
  [(11.04,2.91),(8.28,2.91),(8.28,1.355),(9.255,1.355),(9.255,1.535),(9.8,1.535),(9.8,1.355),(11.04,1.355)],
  [(10.12,2.91),(12.88,2.91),(12.88,1.355),(11.905,1.355),(11.905,1.535),(11.36,1.535),(11.36,1.355),(10.12,1.355)],
  [(1.84,2.91),(4.6,2.91),(4.6,1.355),(3.625,1.355),(3.625,1.535),(3.08,1.535),(3.08,1.355),(1.84,1.355)],
  [(6.9,2.91),(4.14,2.91),(4.14,1.355),(5.115,1.355),(5.115,1.535),(5.66,1.535),(5.66,1.355),(6.9,1.355)],
  [(5.98,2.91),(8.74,2.91),(8.74,1.355),(7.765,1.355),(7.765,1.535),(7.22,1.535),(7.22,1.355),(5.98,1.355)])
P(sky130_fd_sc_hdll__muxb8, npc, [(14.26,1.345),(15.51,1.345),(15.51,1.525),(15.88,1.525),(15.88,1.345),(17.02,1.345),(17.02,0.975),(15.23,0.975),(15.23,0.845),(14.26,0.845)],
  [(15.18,1.345),(13.93,1.345),(13.93,1.525),(13.56,1.525),(13.56,1.345),(12.42,1.345),(12.42,0.975),(14.21,0.975),(14.21,0.845),(15.18,0.845)],
  [(2.76,1.345),(1.51,1.345),(1.51,1.525),(1.14,1.525),(1.14,1.345),(0,1.345),(0,0.975),(1.79,0.975),(1.79,0.845),(2.76,0.845)],
  [(11.04,1.345),(9.79,1.345),(9.79,1.525),(9.42,1.525),(9.42,1.345),(8.28,1.345),(8.28,0.975),(10.07,0.975),(10.07,0.845),(11.04,0.845)],
  [(10.12,1.345),(11.37,1.345),(11.37,1.525),(11.74,1.525),(11.74,1.345),(12.88,1.345),(12.88,0.975),(11.09,0.975),(11.09,0.845),(10.12,0.845)],
  [(1.84,1.345),(3.09,1.345),(3.09,1.525),(3.46,1.525),(3.46,1.345),(4.6,1.345),(4.6,0.975),(2.81,0.975),(2.81,0.845),(1.84,0.845)],
  [(6.9,1.345),(5.65,1.345),(5.65,1.525),(5.28,1.525),(5.28,1.345),(4.14,1.345),(4.14,0.975),(5.93,0.975),(5.93,0.845),(6.9,0.845)],
  [(5.98,1.345),(7.23,1.345),(7.23,1.525),(7.6,1.525),(7.6,1.345),(8.74,1.345),(8.74,0.975),(6.95,0.975),(6.95,0.845),(5.98,0.845)])
R(sky130_fd_sc_hdll__muxb8, pwell_pin, [(0.145,-0.085,0.315,0.085), (0.145,-0.085,0.315,0.085), (4.285,-0.085,4.455,0.085), (4.285,-0.085,4.455,0.085), (8.425,-0.085,8.595,0.085), (8.425,-0.085,8.595,0.085), (12.565,-0.085,12.735,0.085), (12.565,-0.085,12.735,0.085), (16.705,-0.085,16.875,0.085)])
R(sky130_fd_sc_hdll__muxb8, boundary2, [(0,0,17.02,2.72)])
sky130_fd_sc_hdll__muxb8.add(gdstk.Label('muxb8to1_1', (0,0), layer=83, texttype=44))
sky130_fd_sc_hdll__muxb8.add(gdstk.Label('VGND', (0.23,0), layer=68, texttype=5))
sky130_fd_sc_hdll__muxb8.add(gdstk.Label('Z', (1.15,1.87), layer=68, texttype=5))
sky130_fd_sc_hdll__muxb8.add(gdstk.Label('VPWR', (0.23,2.72), layer=68, texttype=5))
sky130_fd_sc_hdll__muxb8.add(gdstk.Label('Z', (15.87,1.87), layer=68, texttype=5))
sky130_fd_sc_hdll__muxb8.add(gdstk.Label('VPWR', (16.79,2.72), layer=68, texttype=5))
sky130_fd_sc_hdll__muxb8.add(gdstk.Label('VGND', (16.79,0), layer=68, texttype=5))
sky130_fd_sc_hdll__muxb8.add(gdstk.Label('VGND', (0.23,0), layer=68, texttype=5))
sky130_fd_sc_hdll__muxb8.add(gdstk.Label('VPWR', (0.23,2.72), layer=68, texttype=5))
sky130_fd_sc_hdll__muxb8.add(gdstk.Label('Z', (1.15,1.87), layer=68, texttype=5))
sky130_fd_sc_hdll__muxb8.add(gdstk.Label('Z', (13.57,1.87), layer=68, texttype=5))
sky130_fd_sc_hdll__muxb8.add(gdstk.Label('VPWR', (12.65,2.72), layer=68, texttype=5))
sky130_fd_sc_hdll__muxb8.add(gdstk.Label('VGND', (12.65,0), layer=68, texttype=5))
sky130_fd_sc_hdll__muxb8.add(gdstk.Label('Z', (11.73,1.87), layer=68, texttype=5))
sky130_fd_sc_hdll__muxb8.add(gdstk.Label('VPWR', (12.65,2.72), layer=68, texttype=5))
sky130_fd_sc_hdll__muxb8.add(gdstk.Label('VGND', (12.65,0), layer=68, texttype=5))
sky130_fd_sc_hdll__muxb8.add(gdstk.Label('Z', (7.59,1.87), layer=68, texttype=5))
sky130_fd_sc_hdll__muxb8.add(gdstk.Label('VPWR', (8.51,2.72), layer=68, texttype=5))
sky130_fd_sc_hdll__muxb8.add(gdstk.Label('VGND', (8.51,0), layer=68, texttype=5))
sky130_fd_sc_hdll__muxb8.add(gdstk.Label('Z', (9.43,1.87), layer=68, texttype=5))
sky130_fd_sc_hdll__muxb8.add(gdstk.Label('VPWR', (8.51,2.72), layer=68, texttype=5))
sky130_fd_sc_hdll__muxb8.add(gdstk.Label('VGND', (8.51,0), layer=68, texttype=5))
sky130_fd_sc_hdll__muxb8.add(gdstk.Label('Z', (3.45,1.87), layer=68, texttype=5))
sky130_fd_sc_hdll__muxb8.add(gdstk.Label('VPWR', (4.37,2.72), layer=68, texttype=5))
sky130_fd_sc_hdll__muxb8.add(gdstk.Label('VGND', (4.37,0), layer=68, texttype=5))
sky130_fd_sc_hdll__muxb8.add(gdstk.Label('Z', (5.29,1.87), layer=68, texttype=5))
sky130_fd_sc_hdll__muxb8.add(gdstk.Label('VPWR', (4.37,2.72), layer=68, texttype=5))
sky130_fd_sc_hdll__muxb8.add(gdstk.Label('VGND', (4.37,0), layer=68, texttype=5))
sky130_fd_sc_hdll__muxb8.add(gdstk.Label('VNB', (0.23,0), layer=64, texttype=59))
sky130_fd_sc_hdll__muxb8.add(gdstk.Label('VNB', (16.79,0), layer=64, texttype=59))
sky130_fd_sc_hdll__muxb8.add(gdstk.Label('VNB', (0.23,0), layer=64, texttype=59))
sky130_fd_sc_hdll__muxb8.add(gdstk.Label('VNB', (12.65,0), layer=64, texttype=59))
sky130_fd_sc_hdll__muxb8.add(gdstk.Label('VNB', (12.65,0), layer=64, texttype=59))
sky130_fd_sc_hdll__muxb8.add(gdstk.Label('VNB', (8.51,0), layer=64, texttype=59))
sky130_fd_sc_hdll__muxb8.add(gdstk.Label('VNB', (8.51,0), layer=64, texttype=59))
sky130_fd_sc_hdll__muxb8.add(gdstk.Label('VNB', (4.37,0), layer=64, texttype=59))
sky130_fd_sc_hdll__muxb8.add(gdstk.Label('VNB', (4.37,0), layer=64, texttype=59))
sky130_fd_sc_hdll__muxb8.add(gdstk.Label('VPB', (0.23,2.72), layer=64, texttype=5))
sky130_fd_sc_hdll__muxb8.add(gdstk.Label('VPB', (16.79,2.72), layer=64, texttype=5))
sky130_fd_sc_hdll__muxb8.add(gdstk.Label('VPB', (0.23,2.72), layer=64, texttype=5))
sky130_fd_sc_hdll__muxb8.add(gdstk.Label('VPB', (12.65,2.72), layer=64, texttype=5))
sky130_fd_sc_hdll__muxb8.add(gdstk.Label('VPB', (12.65,2.72), layer=64, texttype=5))
sky130_fd_sc_hdll__muxb8.add(gdstk.Label('VPB', (8.51,2.72), layer=64, texttype=5))
sky130_fd_sc_hdll__muxb8.add(gdstk.Label('VPB', (8.51,2.72), layer=64, texttype=5))
sky130_fd_sc_hdll__muxb8.add(gdstk.Label('VPB', (4.37,2.72), layer=64, texttype=5))
sky130_fd_sc_hdll__muxb8.add(gdstk.Label('VPB', (4.37,2.72), layer=64, texttype=5))
sky130_fd_sc_hdll__muxb8.add(gdstk.Label('D[0]', (0.69,0.51), layer=67, texttype=5))
sky130_fd_sc_hdll__muxb8.add(gdstk.Label('S[0]', (2.07,1.19), layer=67, texttype=5))
sky130_fd_sc_hdll__muxb8.add(gdstk.Label('S[1]', (2.53,1.19), layer=67, texttype=5))
sky130_fd_sc_hdll__muxb8.add(gdstk.Label('D[1]', (3.91,0.51), layer=67, texttype=5))
sky130_fd_sc_hdll__muxb8.add(gdstk.Label('D[2]', (4.83,0.51), layer=67, texttype=5))
sky130_fd_sc_hdll__muxb8.add(gdstk.Label('S[2]', (6.21,1.19), layer=67, texttype=5))
sky130_fd_sc_hdll__muxb8.add(gdstk.Label('S[3]', (6.67,1.19), layer=67, texttype=5))
sky130_fd_sc_hdll__muxb8.add(gdstk.Label('D[4]', (8.97,0.51), layer=67, texttype=5))
sky130_fd_sc_hdll__muxb8.add(gdstk.Label('S[4]', (10.35,1.19), layer=67, texttype=5))
sky130_fd_sc_hdll__muxb8.add(gdstk.Label('S[5]', (10.81,1.19), layer=67, texttype=5))
sky130_fd_sc_hdll__muxb8.add(gdstk.Label('D[5]', (12.19,0.51), layer=67, texttype=5))
sky130_fd_sc_hdll__muxb8.add(gdstk.Label('D[6]', (13.11,0.51), layer=67, texttype=5))
sky130_fd_sc_hdll__muxb8.add(gdstk.Label('S[6]', (14.49,1.19), layer=67, texttype=5))
sky130_fd_sc_hdll__muxb8.add(gdstk.Label('S[7]', (14.95,1.19), layer=67, texttype=5))
sky130_fd_sc_hdll__muxb8.add(gdstk.Label('D[7]', (16.33,0.51), layer=67, texttype=5))
sky130_fd_sc_hdll__muxb8.add(gdstk.Label('D[3]', (8.05,0.51), layer=67, texttype=5))

lib.write_gds('sky130_fd_sc_hdll__muxb8to1_1.gds')
